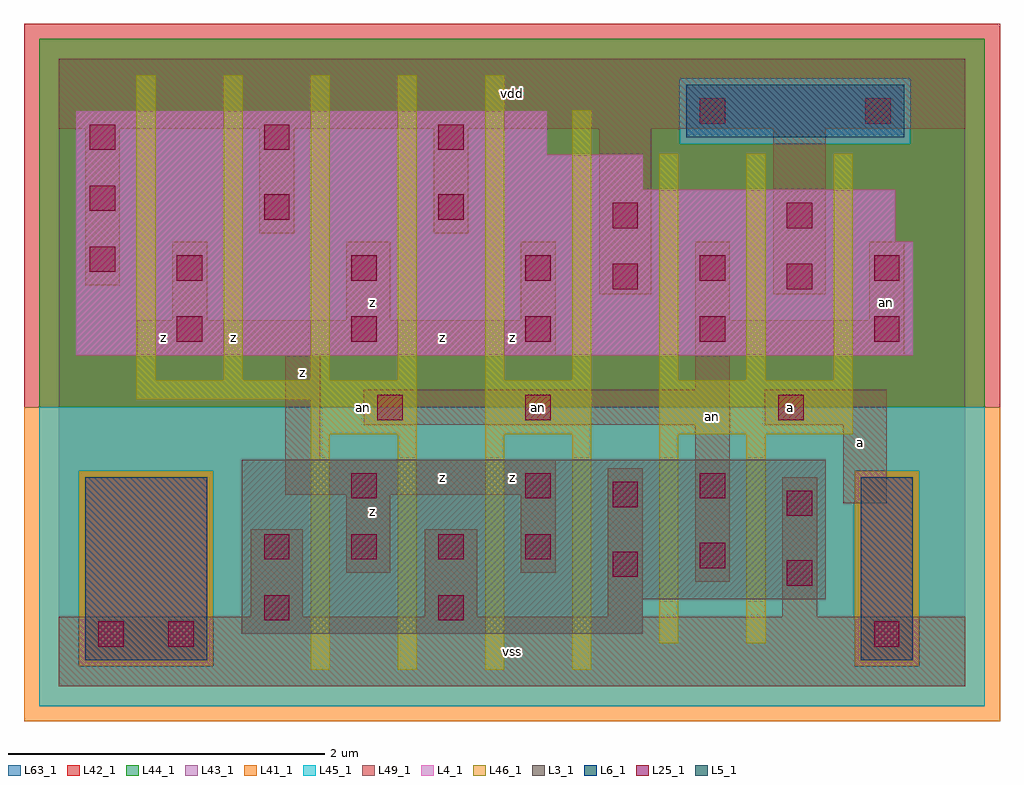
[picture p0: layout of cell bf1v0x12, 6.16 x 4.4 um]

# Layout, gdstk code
import gdstk
lib = gdstk.Library(unit=1e-6, precision=1e-09)
def R(c, l, rs):  # rectangles x0, y0, x1, y1
    for r in rs: c.add(gdstk.rectangle(r[:2], r[2:], *l))
def A(c, l, x, y, w, h, nx, ny, dx, dy):  # array of equal rectangles
    R(c, l, [(x+i*dx, y+j*dy, x+i*dx+w, y+j*dy+h) for i in range(nx) for j in range(ny)])
L3_1 = (3, 1)
L4_1 = (4, 1)
L5_1 = (5, 1)
L6_1 = (6, 1)
L25_1 = (25, 1)
L41_1 = (41, 1)
L42_1 = (42, 1)
L43_1 = (43, 1)
L44_1 = (44, 1)
L45_1 = (45, 1)
L46_1 = (46, 1)
L49_1 = (49, 1)
L63_1 = (63, 1)

bf1v0x12 = lib.new_cell('bf1v0x12')
R(bf1v0x12, L3_1, [(1.155,0.33,3.685,0.55), (1.155,0.55,4.84,1.43)])
R(bf1v0x12, L4_1, [(0.11,2.09,5.39,2.805), (0.11,2.805,5.28,3.135), (0.11,3.135,3.685,3.355), (0.11,3.355,3.08,3.63)])
R(bf1v0x12, L5_1, [(3.96,3.465,5.335,3.795)])
R(bf1v0x12, L6_1, [(0.165,0.165,0.935,1.32), (5.06,0.165,5.39,1.32)])
A(bf1v0x12, L25_1, 1.295, 0.8, 0.16, 0.16, 4, 1, 0.55, 0)
A(bf1v0x12, L25_1, 1.845, 1.185, 0.16, 0.16, 3, 1, 1.1, 0)
A(bf1v0x12, L25_1, 0.745, 2.175, 0.16, 0.16, 5, 2, 1.1, 0.385)
A(bf1v0x12, L25_1, 0.195, 3.385, 0.16, 0.16, 3, 1, 1.1, 0)
R(bf1v0x12, L25_1, [(0.25,0.25,0.41,0.41), (0.69,0.25,0.85,0.41), (5.145,0.25,5.305,0.41), (1.295,0.415,1.455,0.575), (2.395,0.415,2.555,0.575), (4.595,0.635,4.755,0.795), (3.495,0.69,3.655,0.85), (4.045,0.745,4.205,0.905), (4.595,1.075,4.755,1.235), (3.495,1.13,3.655,1.29), (2.01,1.68,2.17,1.84), (2.945,1.68,3.105,1.84), (4.54,1.68,4.7,1.84), (3.495,2.505,3.655,2.665), (4.595,2.505,4.755,2.665), (0.195,2.615,0.355,2.775), (3.495,2.89,3.655,3.05), (4.595,2.89,4.755,3.05), (1.295,2.945,1.455,3.105), (2.395,2.945,2.555,3.105), (0.195,3,0.355,3.16), (4.045,3.55,4.205,3.71), (5.09,3.55,5.25,3.71)])
R(bf1v0x12, L41_1, [(-0.22,-0.22,5.94,1.76)])
R(bf1v0x12, L42_1, [(-0.22,1.76,5.94,4.18)])
R(bf1v0x12, L43_1, [(0.165,0.165,0.935,1.32), (5.06,0.165,5.39,1.32), (1.155,0.33,3.685,0.55), (1.155,0.55,4.84,1.43), (0.11,2.09,5.39,2.805), (0.11,2.805,5.28,3.135), (0.11,3.135,3.685,3.355), (0.11,3.355,3.08,3.63), (3.96,3.465,5.335,3.795)])
R(bf1v0x12, L44_1, [(0.125,0.125,0.975,1.36), (5.02,0.125,5.43,1.36), (-0.125,1.76,5.845,3.425), (-0.125,3.425,3.92,3.835), (5.375,3.425,5.845,3.835), (-0.125,3.835,5.845,4.085)])
R(bf1v0x12, L45_1, [(-0.125,-0.125,5.845,0.125), (-0.125,0.125,0.125,1.36), (0.975,0.125,5.02,1.36), (5.43,0.125,5.845,1.36), (-0.125,1.36,5.845,1.76), (3.92,3.425,5.375,3.835)])
A(bf1v0x12, L46_1, 1.59, 0.105, 0.12, 1.485, 4, 1, 0.55, 0)
A(bf1v0x12, L46_1, 0.49, 1.93, 0.12, 1.925, 5, 1, 0.55, 0)
A(bf1v0x12, L46_1, 3.79, 1.93, 0.12, 1.43, 3, 1, 0.55, 0)
R(bf1v0x12, L46_1, [(3.79,0.27,3.91,1.59), (4.34,0.27,4.46,1.59), (1.59,1.59,2.26,1.81), (2.69,1.59,3.36,1.93), (3.79,1.59,5.01,1.93), (0.49,1.81,2.26,1.93), (3.24,1.93,3.36,3.635)])
A(bf1v0x12, L49_1, 2.915, 2.31, 0.22, 0.495, 3, 1, 1.1, 0)
R(bf1v0x12, L49_1, [(0,0,5.72,0.44), (1.21,0.44,1.54,0.99), (2.31,0.44,2.64,0.99), (3.465,0.44,3.685,1.375), (4.565,0.44,4.785,1.32), (4.015,0.66,4.235,1.65), (1.815,0.715,2.09,1.21), (2.915,0.715,3.135,1.21), (4.95,1.155,5.225,1.65), (1.43,1.21,3.135,1.43), (1.43,1.43,1.65,2.09), (1.925,1.65,4.235,1.87), (4.455,1.65,5.225,1.87), (4.015,1.87,4.235,2.09), (0.495,2.09,3.135,2.31), (4.015,2.09,5.335,2.31), (0.715,2.31,0.935,2.805), (1.815,2.31,2.09,2.805), (3.41,2.475,3.74,3.52), (4.51,2.475,4.84,3.52), (0.165,2.53,0.385,3.52), (1.265,2.86,1.485,3.52), (2.365,2.86,2.585,3.52), (0,3.52,5.72,3.96)])
R(bf1v0x12, L63_1, [(0,0,5.72,3.96)])
bf1v0x12.add(gdstk.Label('an', (1.925,1.76), layer=46, texttype=1))
bf1v0x12.add(gdstk.Label('an', (3.025,1.76), layer=49, texttype=1))
bf1v0x12.add(gdstk.Label('z', (0.66,2.2), layer=49, texttype=1))
bf1v0x12.add(gdstk.Label('z', (1.98,1.1), layer=49, texttype=1))
bf1v0x12.add(gdstk.Label('z', (1.1,2.2), layer=49, texttype=1))
bf1v0x12.add(gdstk.Label('z', (1.54,1.98), layer=49, texttype=1))
bf1v0x12.add(gdstk.Label('z', (1.98,2.42), layer=49, texttype=1))
bf1v0x12.add(gdstk.Label('vss', (2.86,0.22), layer=49, texttype=1))
bf1v0x12.add(gdstk.Label('z', (2.42,1.32), layer=49, texttype=1))
bf1v0x12.add(gdstk.Label('z', (2.86,1.32), layer=49, texttype=1))
bf1v0x12.add(gdstk.Label('z', (2.42,2.2), layer=49, texttype=1))
bf1v0x12.add(gdstk.Label('z', (2.86,2.2), layer=49, texttype=1))
bf1v0x12.add(gdstk.Label('vdd', (2.86,3.74), layer=49, texttype=1))
bf1v0x12.add(gdstk.Label('an', (3.08,1.76), layer=49, texttype=1))
bf1v0x12.add(gdstk.Label('an', (4.125,1.705), layer=49, texttype=1))
bf1v0x12.add(gdstk.Label('a', (5.06,1.54), layer=49, texttype=1))
bf1v0x12.add(gdstk.Label('a', (4.62,1.76), layer=49, texttype=1))
bf1v0x12.add(gdstk.Label('an', (5.225,2.42), layer=49, texttype=1))

lib.write_gds('bf1v0x12.gds')
